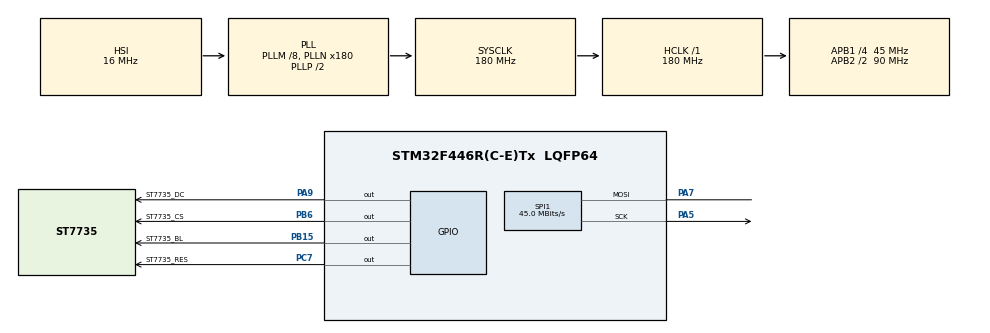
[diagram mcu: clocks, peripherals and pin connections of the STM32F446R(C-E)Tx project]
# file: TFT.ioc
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Dma.Request0=SPI1_TX
Dma.SPI1_TX.0.Direction=DMA_MEMORY_TO_PERIPH
Dma.SPI1_TX.0.FIFOMode=DMA_FIFOMODE_DISABLE
Dma.SPI1_TX.0.Instance=DMA2_Stream3
Dma.SPI1_TX.0.MemDataAlignment=DMA_MDATAALIGN_BYTE
Dma.SPI1_TX.0.MemInc=DMA_MINC_ENABLE
Dma.SPI1_TX.0.Mode=DMA_NORMAL
Dma.SPI1_TX.0.PeriphDataAlignment=DMA_PDATAALIGN_BYTE
Dma.SPI1_TX.0.PeriphInc=DMA_PINC_DISABLE
Dma.SPI1_TX.0.Priority=DMA_PRIORITY_LOW
Mcu.Family=STM32F4
Mcu.Name=STM32F446R(C-E)Tx
Mcu.Package=LQFP64
NVIC.DMA2_Stream3_IRQn=true\:0\:0\:false\:false\:true\:false\:true\:true
NVIC.PriorityGroup=NVIC_PRIORITYGROUP_0
PA5.Mode=Simplex_Bidirectional_Master
PA5.Signal=SPI1_SCK
PA7.Mode=Simplex_Bidirectional_Master
PA7.Signal=SPI1_MOSI
PA9.GPIO_Label=ST7735_DC
PA9.Signal=GPIO_Output
PB15.GPIO_Label=ST7735_BL
PB15.Signal=GPIO_Output
PB6.GPIO_Label=ST7735_CS
PB6.Signal=GPIO_Output
PC7.GPIO_Label=ST7735_RES
PC7.Signal=GPIO_Output
PH0-OSC_IN.Mode=HSE-External-Oscillator
PH0-OSC_IN.Signal=RCC_OSC_IN
PH1-OSC_OUT.Mode=HSE-External-Oscillator
PH1-OSC_OUT.Signal=RCC_OSC_OUT
ProjectManager.HeapSize=0x200
ProjectManager.StackSize=0x400
ProjectManager.TargetToolchain=STM32CubeIDE
RCC.48MHZClocksFreq_Value=84000000
RCC.AHBFreq_Value=180000000
RCC.APB1CLKDivider=RCC_HCLK_DIV4
RCC.APB1Freq_Value=45000000
RCC.APB1TimFreq_Value=90000000
RCC.APB2CLKDivider=RCC_HCLK_DIV2
RCC.APB2Freq_Value=90000000
RCC.APB2TimFreq_Value=180000000
RCC.CortexFreq_Value=180000000
RCC.FLatency-AdvancedSettings=FLASH_LATENCY_5
RCC.HCLKFreq_Value=180000000
RCC.HSE_VALUE=8000000
RCC.HSI_VALUE=16000000
RCC.PLLM=8
RCC.PLLN=180
RCC.SYSCLKFreq_VALUE=180000000
RCC.SYSCLKSource=RCC_SYSCLKSOURCE_PLLCLK
RCC.USBFreq_Value=180000000
RCC.VCOOutputFreq_Value=360000000
SPI1.CalculateBaudRate=45.0 MBits/s
SPI1.Direction=SPI_DIRECTION_1LINE
SPI1.Mode=SPI_MODE_MASTER
SPI1.VirtualType=VM_MASTER
board=NUCLEO-F446RE

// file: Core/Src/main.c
/* USER CODE BEGIN Header */
/**
  ******************************************************************************
  * @file           : main.c
  * @brief          : Main program body
  ******************************************************************************
  * @attention
  *
  * Copyright (c) 2022 STMicroelectronics.
  * All rights reserved.
  *
  * This software is licensed under terms that can be found in the LICENSE file
  * in the root directory of this software component.
  * If no LICENSE file comes with this software, it is provided AS-IS.
  *
  ******************************************************************************
  */
/* USER CODE END Header */
#include "main.h"

/* USER CODE BEGIN Includes */
#include <string.h>
#include "st7735.h"
#include "fonts.h"
#include "testimg.h"
/* USER CODE END Includes */

/* USER CODE BEGIN PD */
uint8_t r = 0;
/* USER CODE END PD */

SPI_HandleTypeDef hspi1;
DMA_HandleTypeDef hdma_spi1_tx;

void SystemClock_Config(void);
static void MX_GPIO_Init(void);
static void MX_DMA_Init(void);
static void MX_SPI1_Init(void);

/* USER CODE BEGIN 0 */
void demoTFT(void)
{
 ST7735_SetRotation(r);

 ST7735_FillScreen(ST7735_BLACK);

 for(int x = 0; x < ST7735_GetWidth(); x++)
 {
   ST7735_DrawPixel(x, 0, ST7735_WHITE);
   ST7735_DrawPixel(x, ST7735_GetHeight() - 1, ST7735_WHITE);
 }

 for(int y = 0; y < ST7735_GetHeight(); y++)
 {
   ST7735_DrawPixel(0, y, ST7735_WHITE);
   ST7735_DrawPixel(ST7735_GetWidth() - 1, y, ST7735_WHITE);
 }

 ST7735_DrawLine(0, 0, ST7735_GetWidth(), ST7735_GetHeight(), ST7735_WHITE);
 ST7735_DrawLine(ST7735_GetWidth(), 0, 0, ST7735_GetHeight(), ST7735_WHITE);

 HAL_Delay(2000);

 ST7735_FillScreen(ST7735_BLACK);

 for (int i = 0; i < ST7735_GetHeight(); i += 4)
 {
  ST7735_DrawFastHLine(0, i, ST7735_GetWidth() - 1, ST7735_WHITE);
 }

 for (int i = 0; i < ST7735_GetWidth(); i += 4)
 {
  ST7735_DrawFastVLine(i, 0, ST7735_GetHeight() - 1, ST7735_WHITE);
 }

 HAL_Delay(2000);

 // Check fonts
 ST7735_FillScreen(ST7735_BLACK);
 ST7735_DrawString(0, 0, "STM32 TFT ", Font_16x26, ST7735_RED, ST7735_BLACK);
 ST7735_DrawString(0, 3*20, "ELECTRONICS", Font_16x26, ST7735_GREEN, ST7735_BLACK);
 ST7735_DrawString(0, 3*20+3*18, "Ismail", Font_16x26, ST7735_BLUE, ST7735_BLACK);
 HAL_Delay(2000);

 // Check colors
 ST7735_FillScreen(ST7735_BLACK);
 ST7735_DrawString(0, 0, "BLACK", Font_16x26, ST7735_WHITE, ST7735_BLACK);
 HAL_Delay(500);

 ST7735_FillScreen(ST7735_BLUE);
 ST7735_DrawString(0, 0, "BLUE", Font_16x26, ST7735_BLACK, ST7735_BLUE);
 HAL_Delay(500);

 ST7735_FillScreen(ST7735_RED);
 ST7735_DrawString(0, 0, "RED", Font_16x26, ST7735_BLACK, ST7735_RED);
 HAL_Delay(500);

 ST7735_FillScreen(ST7735_GREEN);
 ST7735_DrawString(0, 0, "GREEN", Font_16x26, ST7735_BLACK, ST7735_GREEN);
 HAL_Delay(500);

 ST7735_FillScreen(ST7735_CYAN);
 ST7735_DrawString(0, 0, "CYAN", Font_16x26, ST7735_BLACK, ST7735_CYAN);
 HAL_Delay(500);

 ST7735_FillScreen(ST7735_MAGENTA);
 ST7735_DrawString(0, 0, "MAGENTA", Font_16x26, ST7735_BLACK, ST7735_MAGENTA);
 HAL_Delay(500);

 ST7735_FillScreen(ST7735_YELLOW);
 ST7735_DrawString(0, 0, "YELLOW", Font_16x26, ST7735_BLACK, ST7735_YELLOW);
 HAL_Delay(500);

 ST7735_FillScreen(ST7735_WHITE);
 ST7735_DrawString(0, 0, "WHITE", Font_16x26, ST7735_BLACK, ST7735_WHITE);
 HAL_Delay(500);

 // Draw circles
 ST7735_FillScreen(ST7735_BLACK);
 for (int i = 0; i < ST7735_GetHeight() / 2; i += 2)
 {
  ST7735_DrawCircle(ST7735_GetWidth() / 2, ST7735_GetHeight() / 2, i, ST7735_YELLOW);
 }
 HAL_Delay(1000);

 ST7735_FillScreen(ST7735_BLACK);
 ST7735_FillTriangle(0, 0, ST7735_GetWidth() / 2, ST7735_GetHeight(), ST7735_GetWidth(), 0, ST7735_RED);
 HAL_Delay(1000);

 ST7735_FillScreen(ST7735_BLACK);
 ST7735_DrawImage(0, 0, 128, 128, (uint16_t*) test_img_128x128);
 HAL_Delay(3000);

 r++;
}
/* USER CODE END 0 */

int main(void)
{

  /* MCU Configuration--------------------------------------------------------*/

  /* Reset of all peripherals, Initializes the Flash interface and the Systick. */
  HAL_Init();

  /* Configure the system clock */
  SystemClock_Config();

  /* Initialize all configured peripherals */
  MX_GPIO_Init();
  MX_DMA_Init();
  MX_SPI1_Init();
  /* USER CODE BEGIN 2 */
  ST7735_Init();
  ST7735_Backlight_On();
  /* USER CODE END 2 */

  /* Infinite loop */
  while (1)
  {
	  demoTFT();
  }
}

void SystemClock_Config(void)
{
  RCC_OscInitTypeDef RCC_OscInitStruct = {0};
  RCC_ClkInitTypeDef RCC_ClkInitStruct = {0};

  /** Configure the main internal regulator output voltage
  */
  __HAL_RCC_PWR_CLK_ENABLE();
  __HAL_PWR_VOLTAGESCALING_CONFIG(PWR_REGULATOR_VOLTAGE_SCALE1);

  /** Initializes the RCC Oscillators according to the specified parameters
  * in the RCC_OscInitTypeDef structure.
  */
  RCC_OscInitStruct.OscillatorType = RCC_OSCILLATORTYPE_HSI;
  RCC_OscInitStruct.HSIState = RCC_HSI_ON;
  RCC_OscInitStruct.HSICalibrationValue = RCC_HSICALIBRATION_DEFAULT;
  RCC_OscInitStruct.PLL.PLLState = RCC_PLL_ON;
  RCC_OscInitStruct.PLL.PLLSource = RCC_PLLSOURCE_HSI;
  RCC_OscInitStruct.PLL.PLLM = 8;
  RCC_OscInitStruct.PLL.PLLN = 180;
  RCC_OscInitStruct.PLL.PLLP = RCC_PLLP_DIV2;
  RCC_OscInitStruct.PLL.PLLQ = 2;
  RCC_OscInitStruct.PLL.PLLR = 2;
  if (HAL_RCC_OscConfig(&RCC_OscInitStruct) != HAL_OK)
  {
    Error_Handler();
  }

  /** Activate the Over-Drive mode
  */
  if (HAL_PWREx_EnableOverDrive() != HAL_OK)
  {
    Error_Handler();
  }

  /** Initializes the CPU, AHB and APB buses clocks
  */
  RCC_ClkInitStruct.ClockType = RCC_CLOCKTYPE_HCLK|RCC_CLOCKTYPE_SYSCLK
                              |RCC_CLOCKTYPE_PCLK1|RCC_CLOCKTYPE_PCLK2;
  RCC_ClkInitStruct.SYSCLKSource = RCC_SYSCLKSOURCE_PLLCLK;
  RCC_ClkInitStruct.AHBCLKDivider = RCC_SYSCLK_DIV1;
  RCC_ClkInitStruct.APB1CLKDivider = RCC_HCLK_DIV4;
  RCC_ClkInitStruct.APB2CLKDivider = RCC_HCLK_DIV2;

  if (HAL_RCC_ClockConfig(&RCC_ClkInitStruct, FLASH_LATENCY_5) != HAL_OK)
  {
    Error_Handler();
  }
}

static void MX_SPI1_Init(void)
{

  /* SPI1 parameter configuration*/
  hspi1.Instance = SPI1;
  hspi1.Init.Mode = SPI_MODE_MASTER;
  hspi1.Init.Direction = SPI_DIRECTION_1LINE;
  hspi1.Init.DataSize = SPI_DATASIZE_8BIT;
  hspi1.Init.CLKPolarity = SPI_POLARITY_LOW;
  hspi1.Init.CLKPhase = SPI_PHASE_1EDGE;
  hspi1.Init.NSS = SPI_NSS_SOFT;
  hspi1.Init.BaudRatePrescaler = SPI_BAUDRATEPRESCALER_2;
  hspi1.Init.FirstBit = SPI_FIRSTBIT_MSB;
  hspi1.Init.TIMode = SPI_TIMODE_DISABLE;
  hspi1.Init.CRCCalculation = SPI_CRCCALCULATION_DISABLE;
  hspi1.Init.CRCPolynomial = 10;
  if (HAL_SPI_Init(&hspi1) != HAL_OK)
  {
    Error_Handler();
  }

}

static void MX_DMA_Init(void)
{

  /* DMA controller clock enable */
  __HAL_RCC_DMA2_CLK_ENABLE();

  /* DMA interrupt init */
  /* DMA2_Stream3_IRQn interrupt configuration */
  HAL_NVIC_SetPriority(DMA2_Stream3_IRQn, 0, 0);
  HAL_NVIC_EnableIRQ(DMA2_Stream3_IRQn);

}

static void MX_GPIO_Init(void)
{
  GPIO_InitTypeDef GPIO_InitStruct = {0};

  /* GPIO Ports Clock Enable */
  __HAL_RCC_GPIOH_CLK_ENABLE();
  __HAL_RCC_GPIOA_CLK_ENABLE();
  __HAL_RCC_GPIOB_CLK_ENABLE();
  __HAL_RCC_GPIOC_CLK_ENABLE();

  /*Configure GPIO pin Output Level */
  HAL_GPIO_WritePin(GPIOB, ST7735_BL_Pin|ST7735_CS_Pin, GPIO_PIN_RESET);

  /*Configure GPIO pin Output Level */
  HAL_GPIO_WritePin(ST7735_RES_GPIO_Port, ST7735_RES_Pin, GPIO_PIN_RESET);

  /*Configure GPIO pin Output Level */
  HAL_GPIO_WritePin(ST7735_DC_GPIO_Port, ST7735_DC_Pin, GPIO_PIN_RESET);

  /*Configure GPIO pins : ST7735_BL_Pin ST7735_CS_Pin */
  GPIO_InitStruct.Pin = ST7735_BL_Pin|ST7735_CS_Pin;
  GPIO_InitStruct.Mode = GPIO_MODE_OUTPUT_PP;
  GPIO_InitStruct.Pull = GPIO_NOPULL;
  GPIO_InitStruct.Speed = GPIO_SPEED_FREQ_LOW;
  HAL_GPIO_Init(GPIOB, &GPIO_InitStruct);

  /*Configure GPIO pin : ST7735_RES_Pin */
  GPIO_InitStruct.Pin = ST7735_RES_Pin;
  GPIO_InitStruct.Mode = GPIO_MODE_OUTPUT_PP;
  GPIO_InitStruct.Pull = GPIO_NOPULL;
  GPIO_InitStruct.Speed = GPIO_SPEED_FREQ_LOW;
  HAL_GPIO_Init(ST7735_RES_GPIO_Port, &GPIO_InitStruct);

  /*Configure GPIO pin : ST7735_DC_Pin */
  GPIO_InitStruct.Pin = ST7735_DC_Pin;
  GPIO_InitStruct.Mode = GPIO_MODE_OUTPUT_PP;
  GPIO_InitStruct.Pull = GPIO_NOPULL;
  GPIO_InitStruct.Speed = GPIO_SPEED_FREQ_LOW;
  HAL_GPIO_Init(ST7735_DC_GPIO_Port, &GPIO_InitStruct);

}

void Error_Handler(void)
{
  __disable_irq();
  while (1)
  {
  }
}
